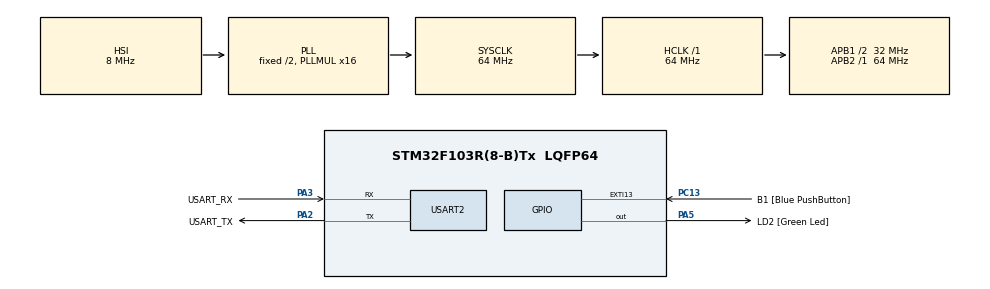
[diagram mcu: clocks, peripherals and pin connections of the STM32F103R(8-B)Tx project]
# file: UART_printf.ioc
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Mcu.Family=STM32F1
Mcu.Name=STM32F103R(8-B)Tx
Mcu.Package=LQFP64
NVIC.EXTI15_10_IRQn=true\:0\:0\:false\:false\:true\:true\:true
NVIC.PriorityGroup=NVIC_PRIORITYGROUP_4
PA13.GPIO_Label=TMS
PA13.Mode=Serial_Wire
PA13.Signal=SYS_JTMS-SWDIO
PA14.GPIO_Label=TCK
PA14.Mode=Serial_Wire
PA14.Signal=SYS_JTCK-SWCLK
PA2.GPIO_Label=USART_TX
PA2.GPIO_Mode=GPIO_MODE_AF_PP
PA2.GPIO_PuPd=GPIO_NOPULL
PA2.GPIO_Speed=GPIO_SPEED_FREQ_LOW
PA2.Mode=Asynchronous
PA2.Signal=USART2_TX
PA3.GPIO_Label=USART_RX
PA3.GPIO_Mode=GPIO_MODE_AF_PP
PA3.GPIO_PuPd=GPIO_NOPULL
PA3.GPIO_Speed=GPIO_SPEED_FREQ_LOW
PA3.Mode=Asynchronous
PA3.Signal=USART2_RX
PA5.GPIO_Label=LD2 [Green Led]
PA5.GPIO_ModeDefaultOutputPP=GPIO_MODE_OUTPUT_PP
PA5.GPIO_PuPd=GPIO_NOPULL
PA5.GPIO_Speed=GPIO_SPEED_FREQ_LOW
PA5.Signal=GPIO_Output
PB3.GPIO_Label=SWO
PB3.Signal=SYS_JTDO-TRACESWO
PC13-TAMPER-RTC.GPIO_Label=B1 [Blue PushButton]
PC13-TAMPER-RTC.GPIO_PuPd=GPIO_NOPULL
PC13-TAMPER-RTC.Signal=GPXTI13
PC14-OSC32_IN.Signal=RCC_OSC32_IN
PC15-OSC32_OUT.Signal=RCC_OSC32_OUT
PD0-OSC_IN.Signal=RCC_OSC_IN
PD1-OSC_OUT.Signal=RCC_OSC_OUT
ProjectManager.HeapSize=0x200
ProjectManager.StackSize=0x400
ProjectManager.TargetToolchain=STM32CubeIDE
RCC.AHBFreq_Value=64000000
RCC.APB1CLKDivider=RCC_HCLK_DIV2
RCC.APB1Freq_Value=32000000
RCC.APB1TimFreq_Value=64000000
RCC.APB2Freq_Value=64000000
RCC.APB2TimFreq_Value=64000000
RCC.HCLKFreq_Value=64000000
RCC.PLLMUL=RCC_PLL_MUL16
RCC.RTCClockSelection=RCC_RTCCLKSOURCE_LSE
RCC.SYSCLKFreq_VALUE=64000000
RCC.SYSCLKSource=RCC_SYSCLKSOURCE_PLLCLK
RCC.USBFreq_Value=64000000
USART2.VirtualMode=VM_ASYNC
board=NUCLEO-F103RB

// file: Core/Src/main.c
/* USER CODE BEGIN Header */
/**
  ******************************************************************************
  * @file           : main.c
  * @brief          : Main program body
  ******************************************************************************
  * @attention
  *
  * <h2><center>&copy; Copyright (c) 2024 STMicroelectronics.
  * All rights reserved.</center></h2>
  *
  * This software component is licensed by ST under BSD 3-Clause license,
  * the "License"; You may not use this file except in compliance with the
  * License. You may obtain a copy of the License at:
  *                        opensource.org/licenses/BSD-3-Clause
  *
  ******************************************************************************
  */
/* USER CODE END Header */
#include "main.h"

/* USER CODE BEGIN Includes */
#include <stdio.h>
/* USER CODE END Includes */

UART_HandleTypeDef huart2;

void SystemClock_Config(void);
static void MX_GPIO_Init(void);
static void MX_USART2_UART_Init(void);

/* USER CODE BEGIN 0 */
#ifdef __GNUC__
/* with GCC, small printf (option LD Linker->Libraries->small printf
   set to 'yes') calls __io-putchar() */
#define PUTCHAR_PROTOTYPE int __io_putchar(int ch)
#else
#define PUTCHAR_PROTOTYPE int fputc(int ch, FILE *f)
#endif /* __GNUC__ */

/**
  * @brief  Retargets the C library printf function to the USART.
  * @param	None
  * @retval None
  */
PUTCHAR_PROTOTYPE
{
	if(ch == '\n')
		HAL_UART_Transmit(&huart2, (uint8_t*) "r", 1, 0xFFFF);
	HAL_UART_Transmit (&huart2, (uint8_t*) &ch, 1, 0xFFFF);

	return ch;
}
/* USER CODE END 0 */

int main(void)
{

  /* MCU Configuration--------------------------------------------------------*/

  /* Reset of all peripherals, Initializes the Flash interface and the Systick. */
  HAL_Init();

  /* Configure the system clock */
  SystemClock_Config();

  /* Initialize all configured peripherals */
  MX_GPIO_Init();
  MX_USART2_UART_Init();

  /* Infinite loop */
  /* USER CODE BEGIN WHILE */
  while (1)
  {
	  printf("Hello World!\n");
	  HAL_Delay (1000);
	  printf("I LOVE Embedded!\n");
	  HAL_Delay (1000);
    /* USER CODE END WHILE */

  }
}

void SystemClock_Config(void)
{
  RCC_OscInitTypeDef RCC_OscInitStruct = {0};
  RCC_ClkInitTypeDef RCC_ClkInitStruct = {0};

  /** Initializes the RCC Oscillators according to the specified parameters
  * in the RCC_OscInitTypeDef structure.
  */
  RCC_OscInitStruct.OscillatorType = RCC_OSCILLATORTYPE_HSI;
  RCC_OscInitStruct.HSIState = RCC_HSI_ON;
  RCC_OscInitStruct.HSICalibrationValue = RCC_HSICALIBRATION_DEFAULT;
  RCC_OscInitStruct.PLL.PLLState = RCC_PLL_ON;
  RCC_OscInitStruct.PLL.PLLSource = RCC_PLLSOURCE_HSI_DIV2;
  RCC_OscInitStruct.PLL.PLLMUL = RCC_PLL_MUL16;
  if (HAL_RCC_OscConfig(&RCC_OscInitStruct) != HAL_OK)
  {
    Error_Handler();
  }
  /** Initializes the CPU, AHB and APB buses clocks
  */
  RCC_ClkInitStruct.ClockType = RCC_CLOCKTYPE_HCLK|RCC_CLOCKTYPE_SYSCLK
                              |RCC_CLOCKTYPE_PCLK1|RCC_CLOCKTYPE_PCLK2;
  RCC_ClkInitStruct.SYSCLKSource = RCC_SYSCLKSOURCE_PLLCLK;
  RCC_ClkInitStruct.AHBCLKDivider = RCC_SYSCLK_DIV1;
  RCC_ClkInitStruct.APB1CLKDivider = RCC_HCLK_DIV2;
  RCC_ClkInitStruct.APB2CLKDivider = RCC_HCLK_DIV1;

  if (HAL_RCC_ClockConfig(&RCC_ClkInitStruct, FLASH_LATENCY_2) != HAL_OK)
  {
    Error_Handler();
  }
}

static void MX_USART2_UART_Init(void)
{

  huart2.Instance = USART2;
  huart2.Init.BaudRate = 115200;
  huart2.Init.WordLength = UART_WORDLENGTH_8B;
  huart2.Init.StopBits = UART_STOPBITS_1;
  huart2.Init.Parity = UART_PARITY_NONE;
  huart2.Init.Mode = UART_MODE_TX_RX;
  huart2.Init.HwFlowCtl = UART_HWCONTROL_NONE;
  huart2.Init.OverSampling = UART_OVERSAMPLING_16;
  if (HAL_UART_Init(&huart2) != HAL_OK)
  {
    Error_Handler();
  }

}

static void MX_GPIO_Init(void)
{
  GPIO_InitTypeDef GPIO_InitStruct = {0};

  /* GPIO Ports Clock Enable */
  __HAL_RCC_GPIOC_CLK_ENABLE();
  __HAL_RCC_GPIOD_CLK_ENABLE();
  __HAL_RCC_GPIOA_CLK_ENABLE();
  __HAL_RCC_GPIOB_CLK_ENABLE();

  /*Configure GPIO pin Output Level */
  HAL_GPIO_WritePin(LD2_GPIO_Port, LD2_Pin, GPIO_PIN_RESET);

  /*Configure GPIO pin : B1_Pin */
  GPIO_InitStruct.Pin = B1_Pin;
  GPIO_InitStruct.Mode = GPIO_MODE_IT_RISING;
  GPIO_InitStruct.Pull = GPIO_NOPULL;
  HAL_GPIO_Init(B1_GPIO_Port, &GPIO_InitStruct);

  /*Configure GPIO pin : LD2_Pin */
  GPIO_InitStruct.Pin = LD2_Pin;
  GPIO_InitStruct.Mode = GPIO_MODE_OUTPUT_PP;
  GPIO_InitStruct.Pull = GPIO_NOPULL;
  GPIO_InitStruct.Speed = GPIO_SPEED_FREQ_LOW;
  HAL_GPIO_Init(LD2_GPIO_Port, &GPIO_InitStruct);

  /* EXTI interrupt init*/
  HAL_NVIC_SetPriority(EXTI15_10_IRQn, 0, 0);
  HAL_NVIC_EnableIRQ(EXTI15_10_IRQn);

}

void Error_Handler(void)
{
  __disable_irq();
  while (1)
  {
  }
}

/************************ (C) COPYRIGHT STMicroelectronics *****END OF FILE****/
